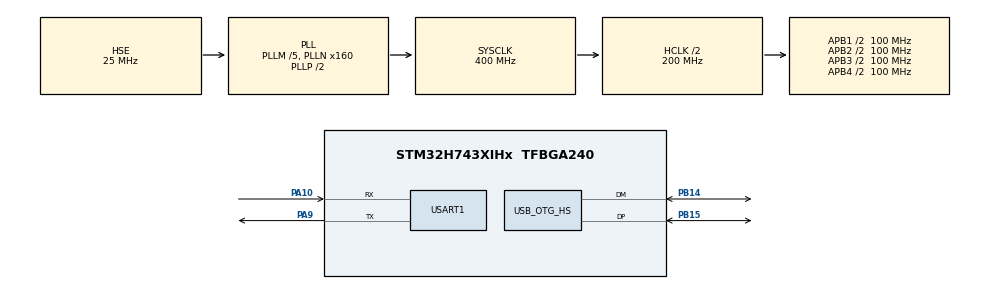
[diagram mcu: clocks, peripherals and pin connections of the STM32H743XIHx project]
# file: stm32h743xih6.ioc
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CORTEX_M7.CPU_DCache=Enabled
CORTEX_M7.CPU_ICache=Enabled
Mcu.Family=STM32H7
Mcu.Name=STM32H743XIHx
Mcu.Package=TFBGA240
NVIC.OTG_HS_IRQn=true\:0\:0\:false\:false\:true\:true\:true
NVIC.PriorityGroup=NVIC_PRIORITYGROUP_4
PA10.GPIO_Speed=GPIO_SPEED_FREQ_VERY_HIGH
PA10.Mode=Asynchronous
PA10.Signal=USART1_RX
PA13\ (JTMS/SWDIO).Mode=Serial_Wire
PA13\ (JTMS/SWDIO).Signal=DEBUG_JTMS-SWDIO
PA14\ (JTCK/SWCLK).Mode=Serial_Wire
PA14\ (JTCK/SWCLK).Signal=DEBUG_JTCK-SWCLK
PA9.GPIO_Speed=GPIO_SPEED_FREQ_VERY_HIGH
PA9.Mode=Asynchronous
PA9.Signal=USART1_TX
PB14.GPIO_Speed=GPIO_SPEED_FREQ_VERY_HIGH
PB14.Mode=Host_FS
PB14.Signal=USB_OTG_HS_DM
PB15.GPIO_Speed=GPIO_SPEED_FREQ_VERY_HIGH
PB15.Mode=Host_FS
PB15.Signal=USB_OTG_HS_DP
PH0-OSC_IN\ (PH0).Mode=HSE-External-Oscillator
PH0-OSC_IN\ (PH0).Signal=RCC_OSC_IN
PH1-OSC_OUT\ (PH1).Mode=HSE-External-Oscillator
PH1-OSC_OUT\ (PH1).Signal=RCC_OSC_OUT
ProjectManager.HeapSize=0x1000
ProjectManager.StackSize=0x1000
ProjectManager.TargetToolchain=MDK-ARM V5.27
RCC.ADCFreq_Value=50390625
RCC.APB1Freq_Value=100000000
RCC.APB2Freq_Value=100000000
RCC.APB3Freq_Value=100000000
RCC.APB4Freq_Value=100000000
RCC.CortexFreq_Value=400000000
RCC.D1PPRE=RCC_APB3_DIV2
RCC.D2PPRE1=RCC_APB1_DIV2
RCC.D2PPRE2=RCC_APB2_DIV2
RCC.D3PPRE=RCC_APB4_DIV2
RCC.DIVM1=5
RCC.DIVM3=25
RCC.DIVN1=160
RCC.DIVN3=240
RCC.DIVQ3=5
RCC.HCLKFreq_Value=200000000
RCC.HPRE=RCC_HCLK_DIV2
RCC.SYSCLKFreq_VALUE=400000000
RCC.SYSCLKSource=RCC_SYSCLKSOURCE_PLLCLK
RCC.USBCLockSelection=RCC_USBCLKSOURCE_PLL3
RCC.USBFreq_Value=48000000
USART1.VirtualMode-Asynchronous=VM_ASYNC
USB_OTG_HS.VirtualMode-Host_FS=Host_FS
USB_OTG_HS.dma_enable-Host_FS=ENABLE
board=custom

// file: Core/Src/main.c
/* USER CODE BEGIN Header */
/**
  ******************************************************************************
  * @file           : main.c
  * @brief          : Main program body
  ******************************************************************************
  * @attention
  *
  * <h2><center>&copy; Copyright (c) 2022 STMicroelectronics.
  * All rights reserved.</center></h2>
  *
  * This software component is licensed by ST under BSD 3-Clause license,
  * the "License"; You may not use this file except in compliance with the
  * License. You may obtain a copy of the License at:
  *                        opensource.org/licenses/BSD-3-Clause
  *
  ******************************************************************************
  */
/* USER CODE END Header */
#include "main.h"

/* USER CODE BEGIN Includes */
#include "FreeRTOS.h"
#include "task.h"
#include "stdio.h"
#include "usbh_core.h"
/* USER CODE END Includes */

UART_HandleTypeDef huart1;

HCD_HandleTypeDef hhcd_USB_OTG_HS;

void SystemClock_Config(void);
static void MX_GPIO_Init(void);
static void MX_USART1_UART_Init(void);
static void MX_USB_OTG_HS_HCD_Init(void);

/* USER CODE BEGIN 0 */
int fputc(int ch, FILE *f)
{
  HAL_UART_Transmit(&huart1,(uint8_t*)&ch,1,1000);
  return ch;
}

void usb_hc_low_level_init(void)
{
  GPIO_InitTypeDef GPIO_InitStruct = {0};
  RCC_PeriphCLKInitTypeDef PeriphClkInitStruct = {0};

  /* USER CODE BEGIN USB_OTG_HS_MspInit 0 */

  /* USER CODE END USB_OTG_HS_MspInit 0 */
  /** Initializes the peripherals clock
  */
    PeriphClkInitStruct.PeriphClockSelection = RCC_PERIPHCLK_USB;
    PeriphClkInitStruct.PLL3.PLL3M = 25;
    PeriphClkInitStruct.PLL3.PLL3N = 240;
    PeriphClkInitStruct.PLL3.PLL3P = 2;
    PeriphClkInitStruct.PLL3.PLL3Q = 5;
    PeriphClkInitStruct.PLL3.PLL3R = 2;
    PeriphClkInitStruct.PLL3.PLL3RGE = RCC_PLL3VCIRANGE_0;
    PeriphClkInitStruct.PLL3.PLL3VCOSEL = RCC_PLL3VCOWIDE;
    PeriphClkInitStruct.PLL3.PLL3FRACN = 0;
    PeriphClkInitStruct.UsbClockSelection = RCC_USBCLKSOURCE_PLL3;
    if (HAL_RCCEx_PeriphCLKConfig(&PeriphClkInitStruct) != HAL_OK)
    {
      Error_Handler();
    }
  /** Enable USB Voltage detector
  */
    HAL_PWREx_EnableUSBVoltageDetector();

    __HAL_RCC_GPIOB_CLK_ENABLE();
    /**USB_OTG_HS GPIO Configuration
    PB15     ------> USB_OTG_HS_DP
    PB14     ------> USB_OTG_HS_DM
    */
    GPIO_InitStruct.Pin = GPIO_PIN_15|GPIO_PIN_14;
    GPIO_InitStruct.Mode = GPIO_MODE_AF_PP;
    GPIO_InitStruct.Pull = GPIO_NOPULL;
    GPIO_InitStruct.Speed = GPIO_SPEED_FREQ_VERY_HIGH;
    GPIO_InitStruct.Alternate = GPIO_AF12_OTG2_FS;
    HAL_GPIO_Init(GPIOB, &GPIO_InitStruct);

    /* Peripheral clock enable */
    __HAL_RCC_USB_OTG_HS_CLK_ENABLE();
    /* USB_OTG_HS interrupt Init */
    HAL_NVIC_SetPriority(OTG_HS_IRQn, 0, 0);
    HAL_NVIC_EnableIRQ(OTG_HS_IRQn);
  /* USER CODE BEGIN USB_OTG_HS_MspInit 1 */

  /* USER CODE END USB_OTG_HS_MspInit 1 */
}

/*属性为Normal，cache的属性为 write-back，即仅更新cache，
 *在合适的时候(由cache策略决定或者软件强制更新)将数据更新到相应的SRAM空间
 *特别注意：如果要数据立即更新，写之后要SCB_CleanDCache，读数据时要SCB_InvalidateDCache
 */
#define MPU_Normal_WB        0x00

/*属性为Normal，cache的属性为 write-back，即仅更新cache，
 *在合适的时候(由cache策略决定或者软件强制更新)将数据更新到相应的SRAM空间
 *特别注意：如果要数据立即更新，写之后要SCB_CleanDCache，读数据时要SCB_InvalidateDCache
 */
#define MPU_Normal_WBWARA    0x01  //外部和内部写入无写入分配

/*属性为 normal，cache的属性为 Write-through，即更新cache的同时，
 *将数据同时写入相应的物理地址空间
 *特别注意：如果要数据立即更新，可以直接往内存写数据，但读数据时要SCB_InvalidateDCache
 */
#define MPU_Normal_WT         0x02

/*属性为 normal，禁用共享,禁用缓存
 */
#define MPU_Normal_NonCache   0x03

/*属性为 Device，共享设置无效，禁用共享,禁用缓存
 */
#define MPU_Device_NonCache   0x04

/**
  * @brief  配置MPU区域属性和大小寄存器值
    * @param  Region            MPU保护区域，取值范围（0—7）
    * @param  AccessPermission  数据访问权限，取值范围（MPU_NO_ACCESS—MPU_PRIV_RO_URO）
    * @param  TypeExtField      用于配置 Cache 策略，可以取值（0，1，2），一般只用0和1
    *
  * @param  Address             MPU保护区域基地址，特别注意配置的Address需要被Size整除
  * @param  Size                MPU保护区域大小,可以取值（MPU_1KB，MPU_4KB ...MPU_512MB）
    * @param  IsShareable       保护的存储空间是否可以共享，1=允许共享，0=禁止共享。
  * @param  IsCacheable         保护的存储空间是否可以缓存，1=允许缓存，0=禁止缓存。
  * @param  IsBufferable        使能Cache之后，策略是write-through还是write-back(bufferable)
    *                           1=允许缓冲，即回写（write-back），0=禁止缓冲，即直写（write-through）。
  * @retval None
  */
static void BSP_MPU_ConfigRegion(uint8_t    Number,
                                 uint8_t    TypeExtField,
                                 uint32_t   Address,
                                 uint32_t   Size,
                                 uint8_t    IsBufferable,
                                 uint8_t    IsCacheable)
{
    MPU_Region_InitTypeDef MPU_InitStruct;

    /* 禁用MPU */
    HAL_MPU_Disable();

    /* 配置MPU属性*/
    MPU_InitStruct.Enable = MPU_REGION_ENABLE;
    MPU_InitStruct.BaseAddress = Address;                      //区域基地址。
    MPU_InitStruct.Size = Size;                                //要配置的区域的区域大小。
    MPU_InitStruct.AccessPermission = MPU_REGION_FULL_ACCESS;  //数据访问权限允许您配置用户和特权模式的读/写访问权限。
    MPU_InitStruct.IsBufferable = IsBufferable;                //区域是可缓冲的，即使用回写缓存。 可缓存但不可缓冲的区域使用直写策略。WB
    MPU_InitStruct.IsCacheable = IsCacheable;                  //区域是否可缓存的，即其值是否可以保存在缓存中。//M7 内核只要开启了 Cache，read allocate 就是开启的
    MPU_InitStruct.IsShareable = MPU_ACCESS_NOT_SHAREABLE;     //区域是否可以在多个总线主控器之间共享。H7 的应用笔记对齐的描述是开启共享基本等同于关闭 Cache
    MPU_InitStruct.Number = Number;                            //区域号。
    MPU_InitStruct.TypeExtField = TypeExtField;                //键入扩展字段，允许您配置内存访问类型。
    MPU_InitStruct.SubRegionDisable = 0x00;                    //子区域禁用字段。
    MPU_InitStruct.DisableExec = MPU_INSTRUCTION_ACCESS_ENABLE;//指令访问禁用位，0=允许指令访问，1=禁止指令访问

    HAL_MPU_ConfigRegion(&MPU_InitStruct);
    /* 启用MPU */
    HAL_MPU_Enable(MPU_PRIVILEGED_DEFAULT); //表示禁止了背景区，访问任何未使能 MPU 的区域均会造成内存异常 MemFault

}

void cpu_mpu_config(uint8_t Region, uint8_t Mode, uint32_t Address, uint32_t Size)
{
    switch (Mode)
    {
    case MPU_Normal_WB:
        /*write back,no write allocate */
        /* 设置内存为Normal类型,禁用共享, 回写模式不带写入读取分配*/
        BSP_MPU_ConfigRegion(Region, MPU_TEX_LEVEL0, Address, Size, MPU_ACCESS_BUFFERABLE, MPU_ACCESS_CACHEABLE);
        break;

    case MPU_Normal_WBWARA:
        /*write back,write and read allocate */
        /* 设置内存为Normal类型,禁用共享, 回写模式带写入读取分配*/
        BSP_MPU_ConfigRegion(Region, MPU_TEX_LEVEL1, Address, Size, MPU_ACCESS_BUFFERABLE, MPU_ACCESS_CACHEABLE);
        break;

    case MPU_Normal_WT:
        /*write through,no write allocate */
        /* 设置内存为Normal类型,禁用共享, 直写模式*/
        BSP_MPU_ConfigRegion(Region, MPU_TEX_LEVEL0, Address, Size, MPU_ACCESS_NOT_BUFFERABLE, MPU_ACCESS_CACHEABLE);
        break;

    case MPU_Normal_NonCache:
        /* 设置内存为Normal类型,禁用共享，禁用缓存模式*/
        BSP_MPU_ConfigRegion(Region, MPU_TEX_LEVEL1, Address, Size, MPU_ACCESS_NOT_BUFFERABLE, MPU_ACCESS_NOT_CACHEABLE);
        break;
    }

}

/* USER CODE END 0 */

int main(void)
{

  /* Enable I-Cache---------------------------------------------------------*/
  SCB_EnableICache();
  /* Enable D-Cache---------------------------------------------------------*/
  SCB_EnableDCache();

  /* MCU Configuration--------------------------------------------------------*/

  /* Reset of all peripherals, Initializes the Flash interface and the Systick. */
  HAL_Init();

  /* Configure the system clock */
  SystemClock_Config();

  /* Initialize all configured peripherals */
  MX_GPIO_Init();
  MX_USART1_UART_Init();
  //MX_USB_OTG_HS_HCD_Init();
  /* USER CODE BEGIN 2 */

  cpu_mpu_config(0, MPU_Normal_NonCache, 0x24070000, MPU_REGION_SIZE_64KB);

  printf("Start usb host task...\r\n");
  extern void usbh_class_test(void);
  usbh_initialize();
  usbh_class_test();
  vTaskStartScheduler();
  /* USER CODE END 2 */

  /* Infinite loop */
  while (1)
  {

  }
}

void SystemClock_Config(void)
{
  RCC_OscInitTypeDef RCC_OscInitStruct = {0};
  RCC_ClkInitTypeDef RCC_ClkInitStruct = {0};

  /** Supply configuration update enable
  */
  HAL_PWREx_ConfigSupply(PWR_LDO_SUPPLY);
  /** Configure the main internal regulator output voltage
  */
  __HAL_PWR_VOLTAGESCALING_CONFIG(PWR_REGULATOR_VOLTAGE_SCALE1);

  while(!__HAL_PWR_GET_FLAG(PWR_FLAG_VOSRDY)) {}
  /** Macro to configure the PLL clock source
  */
  __HAL_RCC_PLL_PLLSOURCE_CONFIG(RCC_PLLSOURCE_HSE);
  /** Initializes the RCC Oscillators according to the specified parameters
  * in the RCC_OscInitTypeDef structure.
  */
  RCC_OscInitStruct.OscillatorType = RCC_OSCILLATORTYPE_HSE;
  RCC_OscInitStruct.HSEState = RCC_HSE_ON;
  RCC_OscInitStruct.PLL.PLLState = RCC_PLL_ON;
  RCC_OscInitStruct.PLL.PLLSource = RCC_PLLSOURCE_HSE;
  RCC_OscInitStruct.PLL.PLLM = 5;
  RCC_OscInitStruct.PLL.PLLN = 160;
  RCC_OscInitStruct.PLL.PLLP = 2;
  RCC_OscInitStruct.PLL.PLLQ = 2;
  RCC_OscInitStruct.PLL.PLLR = 2;
  RCC_OscInitStruct.PLL.PLLRGE = RCC_PLL1VCIRANGE_2;
  RCC_OscInitStruct.PLL.PLLVCOSEL = RCC_PLL1VCOWIDE;
  RCC_OscInitStruct.PLL.PLLFRACN = 0;
  if (HAL_RCC_OscConfig(&RCC_OscInitStruct) != HAL_OK)
  {
    Error_Handler();
  }
  /** Initializes the CPU, AHB and APB buses clocks
  */
  RCC_ClkInitStruct.ClockType = RCC_CLOCKTYPE_HCLK|RCC_CLOCKTYPE_SYSCLK
                              |RCC_CLOCKTYPE_PCLK1|RCC_CLOCKTYPE_PCLK2
                              |RCC_CLOCKTYPE_D3PCLK1|RCC_CLOCKTYPE_D1PCLK1;
  RCC_ClkInitStruct.SYSCLKSource = RCC_SYSCLKSOURCE_PLLCLK;
  RCC_ClkInitStruct.SYSCLKDivider = RCC_SYSCLK_DIV1;
  RCC_ClkInitStruct.AHBCLKDivider = RCC_HCLK_DIV2;
  RCC_ClkInitStruct.APB3CLKDivider = RCC_APB3_DIV2;
  RCC_ClkInitStruct.APB1CLKDivider = RCC_APB1_DIV2;
  RCC_ClkInitStruct.APB2CLKDivider = RCC_APB2_DIV2;
  RCC_ClkInitStruct.APB4CLKDivider = RCC_APB4_DIV2;

  if (HAL_RCC_ClockConfig(&RCC_ClkInitStruct, FLASH_LATENCY_2) != HAL_OK)
  {
    Error_Handler();
  }
}

static void MX_USART1_UART_Init(void)
{

  huart1.Instance = USART1;
  huart1.Init.BaudRate = 115200;
  huart1.Init.WordLength = UART_WORDLENGTH_8B;
  huart1.Init.StopBits = UART_STOPBITS_1;
  huart1.Init.Parity = UART_PARITY_NONE;
  huart1.Init.Mode = UART_MODE_TX_RX;
  huart1.Init.HwFlowCtl = UART_HWCONTROL_NONE;
  huart1.Init.OverSampling = UART_OVERSAMPLING_16;
  huart1.Init.OneBitSampling = UART_ONE_BIT_SAMPLE_DISABLE;
  huart1.Init.ClockPrescaler = UART_PRESCALER_DIV1;
  huart1.AdvancedInit.AdvFeatureInit = UART_ADVFEATURE_NO_INIT;
  if (HAL_UART_Init(&huart1) != HAL_OK)
  {
    Error_Handler();
  }
  if (HAL_UARTEx_SetTxFifoThreshold(&huart1, UART_TXFIFO_THRESHOLD_1_8) != HAL_OK)
  {
    Error_Handler();
  }
  if (HAL_UARTEx_SetRxFifoThreshold(&huart1, UART_RXFIFO_THRESHOLD_1_8) != HAL_OK)
  {
    Error_Handler();
  }
  if (HAL_UARTEx_DisableFifoMode(&huart1) != HAL_OK)
  {
    Error_Handler();
  }

}

static void MX_USB_OTG_HS_HCD_Init(void)
{

  hhcd_USB_OTG_HS.Instance = USB_OTG_HS;
  hhcd_USB_OTG_HS.Init.Host_channels = 16;
  hhcd_USB_OTG_HS.Init.speed = HCD_SPEED_FULL;
  hhcd_USB_OTG_HS.Init.dma_enable = ENABLE;
  hhcd_USB_OTG_HS.Init.phy_itface = USB_OTG_EMBEDDED_PHY;
  hhcd_USB_OTG_HS.Init.Sof_enable = DISABLE;
  hhcd_USB_OTG_HS.Init.low_power_enable = DISABLE;
  hhcd_USB_OTG_HS.Init.use_external_vbus = DISABLE;
  if (HAL_HCD_Init(&hhcd_USB_OTG_HS) != HAL_OK)
  {
    Error_Handler();
  }

}

static void MX_GPIO_Init(void)
{

  /* GPIO Ports Clock Enable */
  __HAL_RCC_GPIOA_CLK_ENABLE();
  __HAL_RCC_GPIOH_CLK_ENABLE();
  __HAL_RCC_GPIOB_CLK_ENABLE();

}

void Error_Handler(void)
{
  __disable_irq();
  while (1)
  {
  }
}

/************************ (C) COPYRIGHT STMicroelectronics *****END OF FILE****/
